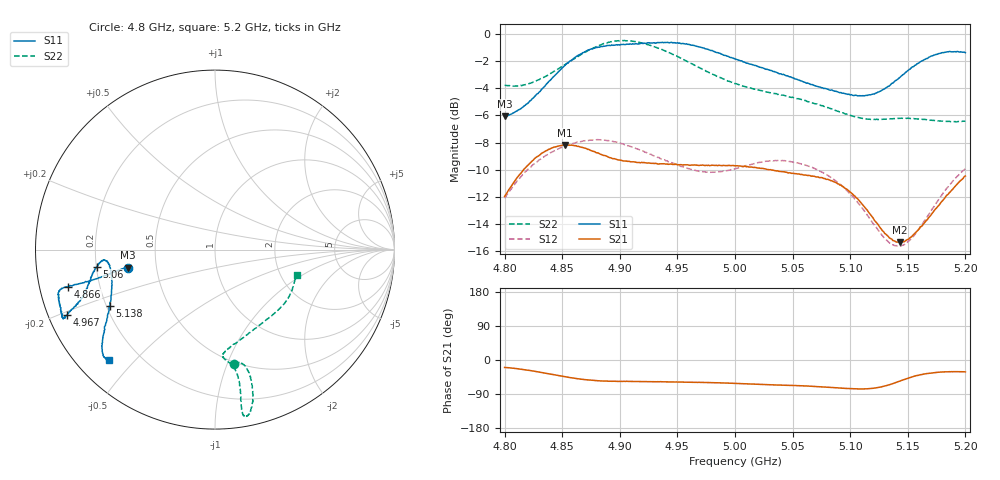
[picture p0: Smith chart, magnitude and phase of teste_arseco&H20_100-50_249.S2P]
! Network Analyzer HP8722D
! Hewlett-Packard
! Data name: Linha & Wilkinson
! Saver's name: Rodrigo Anjos
! Comments: Teste da utilização de aquisição
! continua pelo VNA HP8722D
! Time and date: 6/5/2025 14:38
!  Frequency  S11  S21  S12  S22
# HZ  S  MA R 50
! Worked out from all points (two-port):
!   401 points, 4.8 GHz to 5.2 GHz, reference 50 ohm
!   highest |S21| = -8.16 dB at 4.852 GHz (marker M1); lowest = -15.3 dB at 5.143 GHz (marker M2)
!   |S21| within 3 dB of the highest: 4.806 GHz to 5.093 GHz (286.4 MHz wide, 5.79 % of centre); 5.191761 GHz to end of sweep
!   lowest |S11| = -6.1 dB at 4.8 GHz (marker M3), VSWR 2.98, Z = 17 - j4.57 ohm
!   |S11| at or under -10 dB: nowhere
!   |S22| runs from -6.5 to -0.5 dB; largest |S21 - S12| = 0.62
!   S11 on the Smith chart (normalised r, x): 4.8 GHz: 0.34, -0.09; 4.866 GHz: 0.09, -0.12; 4.967 GHz: 0.06, -0.21; 5.06 GHz: 0.20, -0.07; 5.138 GHz: 0.21, -0.24; 5.2 GHz: 0.09, -0.42
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4.8e9  0.497 -168.2  0.2528 -19.7  0.249 -141.0  0.6479 -80.4
4.824e9  0.5778 -167.5  0.3413 -28.7  0.3288 -144.2  0.6629 -75.8
4.852e9  0.7632 -165.9  0.3909 -43.9  0.3864 -149.4  0.7691 -74.5
4.866e9  0.843 -165.9  0.3836 -50.5  0.4014 -151.9  0.8372 -75.4
4.867e9  0.8473 -165.9  0.3828 -50.9  0.4028 -152.0  0.8434 -75.5
4.88e9  0.8908 -165.5  0.3653 -54.7  0.4083 -154.2  0.8995 -76.7
4.9e9  0.9105 -162.6  0.3435 -56.4  0.3968 -156.5  0.9421 -79.2
4.934e9  0.9284 -156.5  0.3326 -57.5  0.3514 -155.6  0.8828 -80.5
4.967e9  0.8992 -156.2  0.3291 -58.9  0.3133 -148.1  0.7591 -79.6
5e9  0.8102 -159.1  0.3273 -61.8  0.3195 -137.2  0.6562 -81.3
5.035e9  0.7245 -165.2  0.3142 -65.9  0.3426 -134.4  0.6028 -85.6
5.06e9  0.6651 -171.9  0.3025 -68.2  0.3299 -136.1  0.5692 -84.3
5.067e9  0.6512 -173.1  0.3 -69.2  0.3229 -136.8  0.558 -82.7
5.086e9  0.6167 -174.5  0.2858 -72.9  0.291 -138.5  0.5255 -75.3
5.101e9  0.5982 -172.0  0.2602 -75.8  0.2552 -138.9  0.5006 -66.5
5.116e9  0.5963 -165.6  0.2209 -75.9  0.2124 -135.5  0.4858 -55.8
5.134e9  0.6434 -154.3  0.1779 -65.3  0.1705 -120.6  0.4872 -43.3
5.138e9  0.6658 -152.0  0.1736 -61.2  0.1669 -115.6  0.4881 -40.8
5.143e9  0.6905 -149.3  0.1712 -55.9  0.166 -109.0  0.4893 -38.0
5.154e9  0.7565 -144.5  0.181 -44.4  0.1792 -95.0  0.4893 -32.3
5.172e9  0.833 -139.0  0.2211 -33.5  0.2297 -81.2  0.481 -24.5
5.2e9  0.8528 -133.7  0.3002 -31.4  0.3189 -77.0  0.4771 -17.5
